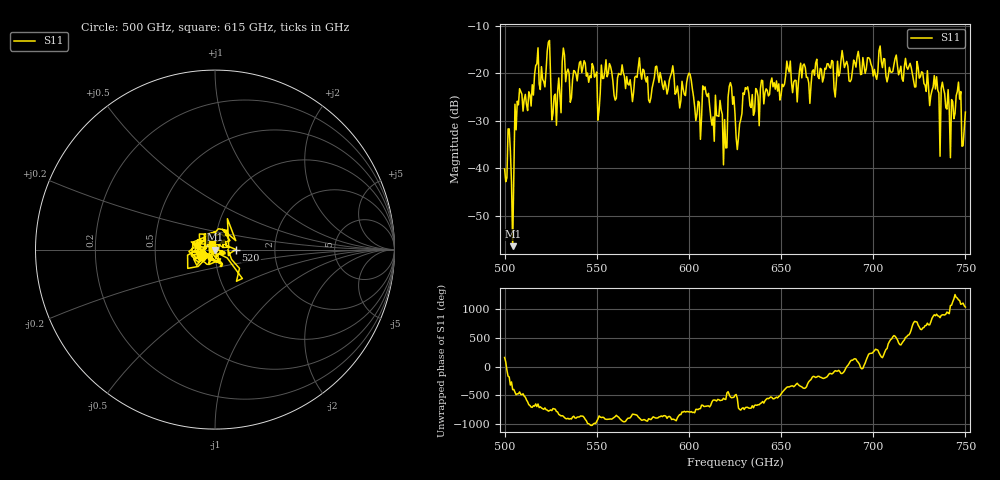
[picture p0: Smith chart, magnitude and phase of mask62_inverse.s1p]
!Created with skrf (http://scikit-rf.org).
# GHz S MA R 50.0
!freq magS11 angS11
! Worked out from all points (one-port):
!   401 points, 500 GHz to 750 GHz, reference 50 ohm
!   lowest |S11| = -56.3 dB at 504.4 GHz (marker M1), VSWR 1.00, Z = 50.1 - j0.102 ohm
!   |S11| at or under -10 dB: start of sweep to end of sweep
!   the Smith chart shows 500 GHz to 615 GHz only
!   S11 on the Smith chart (normalised r, x): 500 GHz: 0.98, +0.01; 520 GHz: 1.27, +0.00; 615 GHz: 0.96, +0.06
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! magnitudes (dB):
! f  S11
! 500 GHz  -40.1
! 504.4 GHz  -56.3
! 508.1 GHz  -23.2
! 520 GHz  -18.6
! 523.8 GHz  -13.4
! 526.9 GHz  -24.8
! 531.2 GHz  -17.5
! 548.8 GHz  -20.8
! 550.6 GHz  -29.8
! 562.5 GHz  -20.2
! 579.4 GHz  -25.1
! 590.6 GHz  -19.8
! 593.8 GHz  -22.7
! 600 GHz  -20.0
! 605 GHz  -25.9
! 608.8 GHz  -22.8
! 615 GHz  -28.9
! 619.4 GHz  -29.7
! 623.1 GHz  -22.8
! 625 GHz  -28.5
! 626.9 GHz  -33.6
! 630.6 GHz  -23.0
! 656.2 GHz  -24.1
! 687.5 GHz  -21.7
! 718.8 GHz  -19.1
! 743.1 GHz  -25.9
! 746.2 GHz  -21.8
! 750 GHz  -28.1
